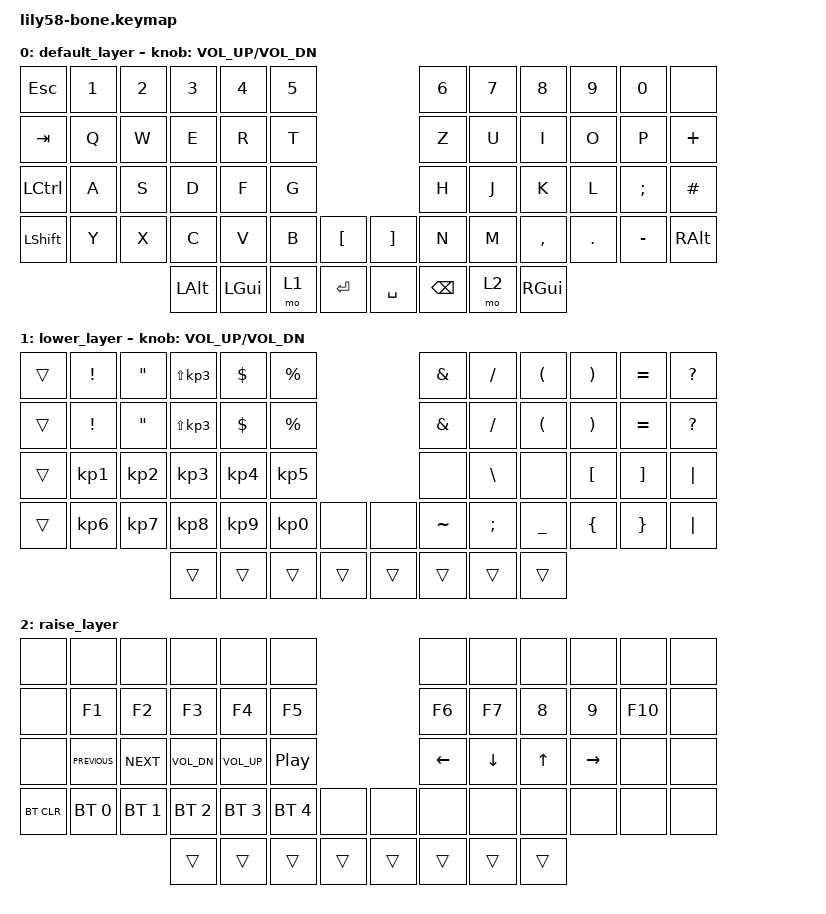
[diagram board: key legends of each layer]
/*
 * Copyright (c) 2020 The ZMK Contributors
 *
 * SPDX-License-Identifier: MIT
 */

#include <behaviors.dtsi>
#include <dt-bindings/zmk/bt.h>
#include <dt-bindings/zmk/keys.h>

/ {
    keymap {
        compatible = "zmk,keymap";

        default_layer {
            // ------------------------------------------------------------------------------------------------------------
            // |  ESC  |  1  |  2  |  3   |  4   |  5   |                   |  6   |  7    |  8    |  9   |   0   |   `   |
            // |  TAB  |  Q  |  W  |  E   |  R   |  T   |                   |  Y   |  U    |  I    |  O   |   P   |   -   |
            // |  CTRL |  A  |  S  |  D   |  F   |  G   |                   |  H   |  J    |  K    |  L   |   ;   |   '   |
            // | SHIFT |  Z  |  X  |  C   |  V   |  B   |   "["  |  |  "]"  |  N   |  M    |  ,    |  .   |   /   | SHIFT |
            //                     | ALT  | GUI  | LOWER|  SPACE |  | ENTER | RAISE| BSPC  | GUI   |

            bindings = <
&kp ESCAPE  &kp N1  &kp N2  &kp N3    &kp N4    &kp N5                          &kp N6         &kp N7  &kp N8     &kp N9   &kp N0     &none
&kp TAB     &kp Q   &kp W   &kp E     &kp R     &kp T                           &kp Z          &kp U   &kp I      &kp O    &kp P      &kp PLUS
&kp LCTRL   &kp A   &kp S   &kp D     &kp F     &kp G                           &kp H          &kp J   &kp K      &kp L    &kp SEMI   &kp HASH
&kp LSHFT   &kp Y   &kp X   &kp C     &kp V     &kp B   &kp LBKT     &kp RBKT   &kp N          &kp M   &kp COMMA  &kp DOT  &kp MINUS  &kp RALT
                            &kp LALT  &kp LGUI  &mo 1   &kp ENTER    &kp SPACE  &kp BACKSPACE  &mo 2   &kp RGUI
            >;

            sensor-bindings = <&inc_dec_kp C_VOL_UP C_VOL_DN>;
        };

        lower_layer {
            // ------------------------------------------------------------------------------------------------------------
            // | BTCLR | BT1 | BT2 |  BT3 |  BT4 |  BT5 |                   |      |       |       |      |       |       |
            // |  F1   |  F2 |  F3 |  F4  |  F5  |  F6  |                   |  F7  |  F8   |  F9   |  F10 |  F11  |  F12  |
            // |   `   |  !  |  @  |  #   |  $   |  %   |                   |  ^   |  &    |  *    |  (   |   )   |   ~   |
            // |       |     |     |      |      |      |        |  |       |      |  _    |  +    |  {   |   }   |  "|"  |
            //                     |      |      |      |        |  |       |      |       |       |

            bindings = <
&trans  &kp EXCLAMATION  &kp DOUBLE_QUOTES  &kp LS(KP_NUMBER_3)  &kp DOLLAR       &kp PERCENT                        &kp AMPERSAND  &kp SLASH      &kp LEFT_PARENTHESIS  &kp RIGHT_PARENTHESIS  &kp EQUAL          &kp QUESTION
&trans  &kp EXCLAMATION  &kp DOUBLE_QUOTES  &kp LS(KP_NUMBER_3)  &kp DOLLAR       &kp PERCENT                        &kp AMPERSAND  &kp SLASH      &kp LEFT_PARENTHESIS  &kp RIGHT_PARENTHESIS  &kp EQUAL          &kp QUESTION
&trans  &kp KP_NUMBER_1  &kp KP_NUMBER_2    &kp KP_NUMBER_3      &kp KP_NUMBER_4  &kp KP_NUMBER_5                    &none          &kp BSLH       &none                 &kp LEFT_BRACKET       &kp RIGHT_BRACKET  &kp PIPE
&trans  &kp KP_NUMBER_6  &kp KP_NUMBER_7    &kp KP_NUMBER_8      &kp KP_NUMBER_9  &kp KP_NUMBER_0  &none     &none   &kp TILDE      &kp SEMICOLON  &kp UNDERSCORE        &kp LBRC               &kp RBRC           &kp PIPE
                                            &trans               &trans           &trans           &trans    &trans  &trans         &trans         &trans
            >;

            sensor-bindings = <&inc_dec_kp C_VOL_UP C_VOL_DN>;
        };

        raise_layer {
            // ------------------------------------------------------------------------------------------------------------
            // |       |     |     |      |      |      |                   |      |       |       |      |       |       |
            // |   `   |  1  |  2  |  3   |  4   |  5   |                   |  6   |   7   |   8   |  9   |   0   |       |
            // |   F1  |  F2 |  F3 |  F4  |  F5  |  F6  |                   |      |   <-  |   v   |  ^   |  ->   |       |
            // |   F7  |  F8 |  F9 |  F10 |  F11 |  F12 |        |  |       |  +   |   -   |   =   |  [   |   ]   |   \   |
            //                     |      |      |      |        |  |       |      |       |       |

            bindings = <
&none       &none           &none         &none         &none         &none                               &none     &none     &none   &none      &none    &none
&none       &kp F1          &kp F2        &kp F3        &kp F4        &kp F5                              &kp F6    &kp F7    &kp N8  &kp N9     &kp F10  &none
&none       &kp C_PREVIOUS  &kp C_NEXT    &kp C_VOL_DN  &kp C_VOL_UP  &kp C_PLAY_PAUSE                    &kp LEFT  &kp DOWN  &kp UP  &kp RIGHT  &none    &none
&bt BT_CLR  &bt BT_SEL 0    &bt BT_SEL 1  &bt BT_SEL 2  &bt BT_SEL 3  &bt BT_SEL 4      &none     &none   &none     &none     &none   &none      &none    &none
                                          &trans        &trans        &trans            &trans    &trans  &trans    &trans    &trans
            >;
        };
    };
};
